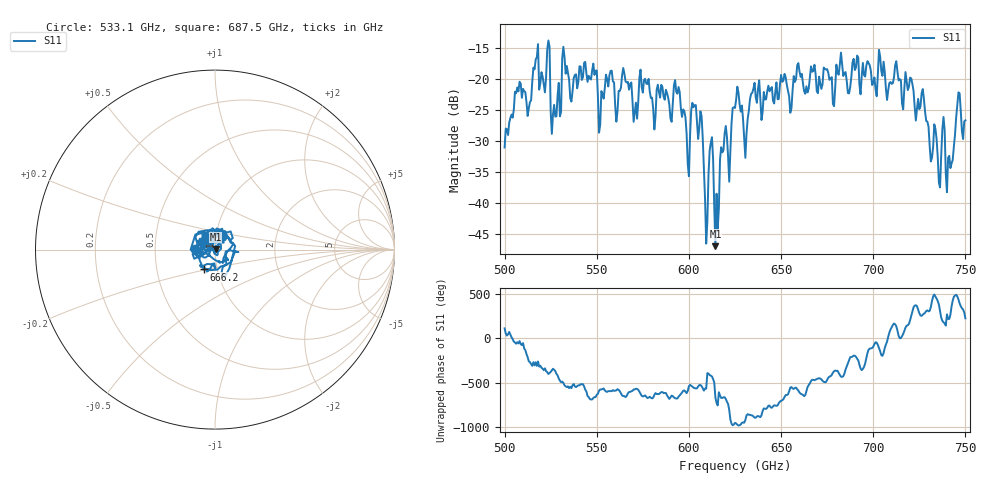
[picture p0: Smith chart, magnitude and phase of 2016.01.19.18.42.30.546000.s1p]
!Created with skrf (http://scikit-rf.org).
# GHz S RI R 50.0
!freq ReS11 ImS11
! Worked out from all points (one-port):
!   401 points, 500 GHz to 750 GHz, reference 50 ohm
!   lowest |S11| = -47.0 dB at 614.4 GHz (marker M1), VSWR 1.01, Z = 50.3 + j0.35 ohm
!   |S11| at or under -10 dB: start of sweep to end of sweep
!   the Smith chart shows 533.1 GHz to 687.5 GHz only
!   S11 on the Smith chart (normalised r, x): 533.1 GHz: 0.80, +0.00; 666.2 GHz: 0.86, -0.19; 687.5 GHz: 0.86, +0.08
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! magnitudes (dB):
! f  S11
! 500 GHz  -31.1
! 506.9 GHz  -21.3
! 513.1 GHz  -24.7
! 516.9 GHz  -16.8
! 523.1 GHz  -15.2
! 526.9 GHz  -24.2
! 531.2 GHz  -16.7
! 533.1 GHz  -19.1
! 551.9 GHz  -27.3
! 562.5 GHz  -21.9
! 593.8 GHz  -22.3
! 599.4 GHz  -33.8
! 602.5 GHz  -24.5
! 606.2 GHz  -25.2
! 609.4 GHz  -46.6
! 611.9 GHz  -30.3
! 614.4 GHz  -47.0
! 625 GHz  -24.7
! 630.6 GHz  -32.7
! 634.4 GHz  -22.2
! 656.2 GHz  -21.8
! 666.2 GHz  -17.9
! 687.5 GHz  -21.3
! 718.8 GHz  -21.8
! 735.6 GHz  -36.7
! 741.2 GHz  -32.4
! 746.2 GHz  -22.1
! 750 GHz  -26.7
